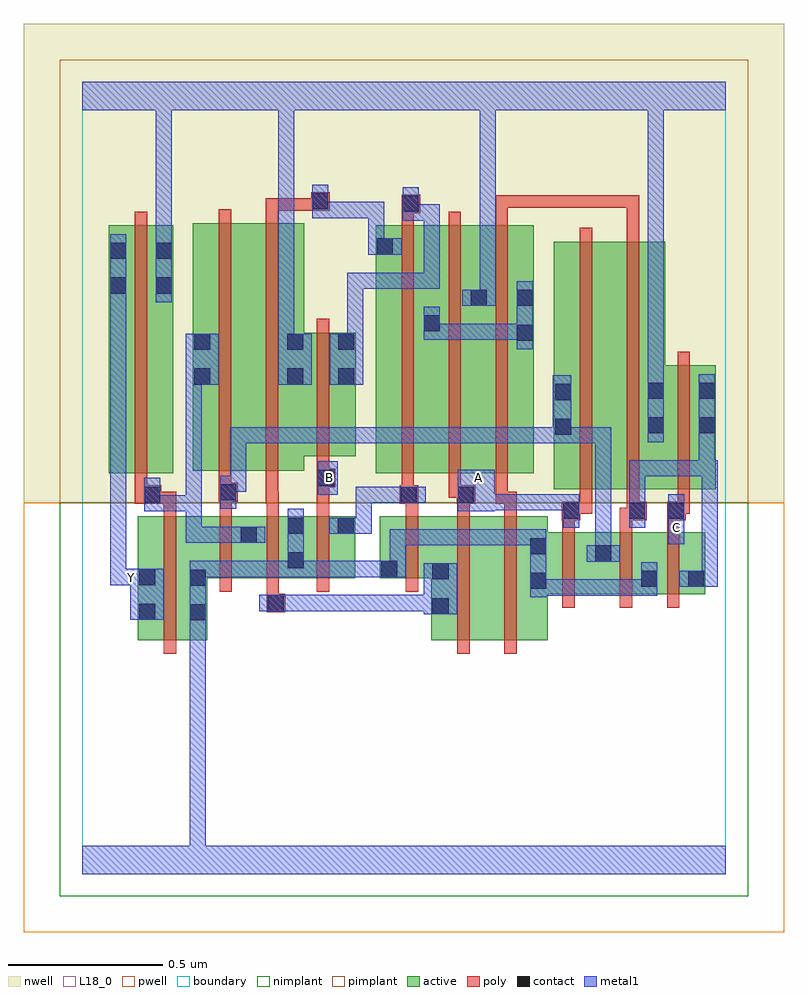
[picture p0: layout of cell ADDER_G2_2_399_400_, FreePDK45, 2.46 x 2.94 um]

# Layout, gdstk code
import gdstk
lib = gdstk.Library(unit=1e-6, precision=1e-09)
def R(c, l, rs):  # rectangles x0, y0, x1, y1
    for r in rs: c.add(gdstk.rectangle(r[:2], r[2:], *l))
def A(c, l, x, y, w, h, nx, ny, dx, dy):  # array of equal rectangles
    R(c, l, [(x+i*dx, y+j*dy, x+i*dx+w, y+j*dy+h) for i in range(nx) for j in range(ny)])
active = (1, 0)
pwell = (2, 0)
nwell = (3, 0)
nimplant = (4, 0)
pimplant = (5, 0)
poly = (9, 0)
contact = (10, 0)
metal1 = (11, 0)
L18_0 = (18, 0)
boundary = (235, 0)

adder_g2_2_399_400_ = lib.new_cell('ADDER_G2_2_399_400_')
R(adder_g2_2_399_400_, active, [(0.18,0.756,0.404,1.156), (0.18,0.756,0.24,1.156), (0.344,0.756,0.404,0.988), (1.128,0.756,1.308,1.156), (1.308,0.756,1.504,1.156), (1.444,0.78,1.504,1.09), (1.128,0.836,1.188,1.034), (1.444,0.904,1.714,1.104), (1.654,0.904,1.862,1.104), (1.802,0.904,2.014,1.104), (1.802,0.924,1.862,1.04), (1.954,0.924,2.014,1.104), (0.344,0.956,0.568,1.156), (0.508,0.956,0.72,1.156), (0.508,0.956,0.568,1.128), (0.66,0.956,0.72,1.156), (0.66,0.956,0.882,1.156), (0.822,0.956,0.882,1.156), (0.962,0.956,1.188,1.156), (0.962,0.956,1.022,1.156), (1.654,0.956,1.714,1.096), (1.524,1.244,1.704,2.044), (1.524,1.244,1.584,2.044), (1.704,1.244,1.884,2.044), (1.824,1.244,2.048,1.644), (1.988,1.244,2.048,1.644), (0.086,1.296,0.146,2.096), (0.086,1.296,0.294,2.096), (0.234,1.296,0.294,2.096), (0.948,1.296,1.16,2.096), (0.948,1.296,1.008,2.064), (1.1,1.296,1.312,2.096), (1.1,1.296,1.16,2.044), (1.252,1.296,1.46,2.096), (1.252,1.296,1.312,2.09), (1.4,1.296,1.46,2.096), (0.358,1.304,0.538,2.104), (0.358,1.304,0.418,2.044), (0.538,1.304,0.718,2.104), (0.658,1.35,0.718,1.75), (0.658,1.35,0.884,1.75), (0.824,1.35,0.884,1.75), (1.824,1.35,1.884,1.644)])
R(adder_g2_2_399_400_, pwell, [(-0.188,-0.188,2.268,1.2)])
R(adder_g2_2_399_400_, nwell, [(-0.188,1.2,2.268,2.748)])
R(adder_g2_2_399_400_, nimplant, [(-0.072,-0.072,2.152,1.2)])
R(adder_g2_2_399_400_, pimplant, [(-0.072,1.2,2.152,2.632)])
A(adder_g2_2_399_400_, poly, 1.032, 1.252, 0.04, 0.888, 3, 1, 0.152, 0)
R(adder_g2_2_399_400_, poly, [(0.264,0.712,0.304,1.2), (1.212,0.712,1.252,1.2), (1.364,0.712,1.404,1.2), (0.596,0.846,0.656,0.906), (1.552,0.86,1.592,1.148), (1.738,0.86,1.778,1.148), (1.89,0.86,1.93,1.148), (0.596,0.866,0.636,0.952), (0.444,0.912,0.484,1.2), (0.596,0.912,0.636,1.2), (0.758,0.912,0.798,1.2), (1.046,0.912,1.086,1.2), (1.552,1.108,1.592,1.184), (1.738,1.108,1.778,1.184), (1.89,1.108,1.93,1.184), (1.55,1.144,1.61,1.204), (1.738,1.144,1.8,1.184), (1.76,1.144,1.8,1.184), (1.76,1.144,1.824,1.204), (1.89,1.144,1.95,1.204), (0.264,1.16,0.304,1.236), (0.444,1.16,0.484,1.244), (0.596,1.16,0.636,1.236), (0.758,1.16,0.798,1.29), (1.046,1.16,1.086,1.236), (1.212,1.16,1.252,1.236), (1.364,1.16,1.404,1.236), (1.57,1.164,1.61,1.204), (1.57,1.164,1.648,1.204), (1.608,1.164,1.648,1.24), (1.76,1.164,1.8,1.24), (1.91,1.164,1.95,1.204), (1.91,1.164,1.964,1.204), (1.924,1.164,1.964,1.24), (0.17,1.196,0.256,1.256), (0.216,1.196,0.256,1.236), (0.216,1.196,0.304,1.236), (0.594,1.196,0.634,1.3), (0.594,1.196,0.636,1.236), (0.596,1.196,0.636,1.236), (0.596,1.196,0.636,1.236), (1.026,1.196,1.086,1.256), (1.21,1.196,1.27,1.256), (1.336,1.196,1.376,1.236), (1.336,1.196,1.376,1.236), (1.336,1.196,1.376,1.292), (1.336,1.196,1.404,1.236), (1.608,1.2,1.648,2.088), (1.76,1.2,1.8,2.088), (1.924,1.2,1.964,1.688), (0.442,1.204,0.502,1.264), (0.444,1.204,0.484,1.244), (0.444,1.204,0.484,1.244), (0.17,1.216,0.21,1.292), (1.032,1.216,1.072,1.292), (1.032,1.216,1.072,1.256), (1.032,1.216,1.072,1.256), (1.184,1.216,1.224,1.292), (1.184,1.216,1.25,1.256), (1.21,1.216,1.25,1.256), (0.442,1.224,0.482,1.3), (0.758,1.25,0.818,1.31), (0.17,1.252,0.21,2.14), (0.442,1.26,0.482,2.148), (0.594,1.26,0.634,2.148), (0.758,1.27,0.798,1.346), (0.758,1.27,0.798,1.31), (0.758,1.27,0.798,1.31), (0.758,1.306,0.798,1.794), (1.76,2.048,1.8,2.194), (1.032,2.1,1.072,2.176), (1.336,2.1,1.376,2.194), (0.594,2.108,0.634,2.184), (1.032,2.136,1.092,2.196), (0.594,2.144,0.634,2.184), (0.594,2.144,0.78,2.184), (0.74,2.144,0.78,2.184), (0.74,2.144,0.78,2.184), (0.74,2.144,0.8,2.204), (1.336,2.154,1.376,2.194), (1.336,2.154,1.376,2.194), (1.336,2.154,1.376,2.194), (1.336,2.154,1.672,2.194), (1.632,2.154,1.672,2.194), (1.632,2.154,1.672,2.194), (1.632,2.154,1.672,2.194), (1.632,2.154,1.8,2.194), (1.76,2.154,1.8,2.194), (1.76,2.154,1.8,2.194), (1.76,2.154,1.8,2.194)])
R(adder_g2_2_399_400_, contact, [(0.348,0.82,0.4,0.872), (0.184,0.822,0.236,0.874), (1.132,0.84,1.184,0.892), (0.6,0.85,0.652,0.902), (1.448,0.922,1.5,0.974), (1.806,0.928,1.858,0.98), (1.958,0.928,2.01,0.98), (0.348,0.932,0.4,0.984), (0.184,0.934,0.236,0.986), (1.132,0.952,1.184,1.004), (0.966,0.96,1.018,1.012), (0.664,0.988,0.716,1.04), (1.658,1.01,1.71,1.062), (1.448,1.034,1.5,1.086), (0.512,1.07,0.564,1.122), (0.664,1.1,0.716,1.152), (0.826,1.1,0.878,1.152), (1.554,1.148,1.606,1.2), (1.768,1.148,1.82,1.2), (1.894,1.148,1.946,1.2), (0.2,1.2,0.252,1.252), (1.03,1.2,1.082,1.252), (1.214,1.2,1.266,1.252), (0.446,1.208,0.498,1.26), (0.762,1.254,0.814,1.306), (1.528,1.42,1.58,1.472), (1.828,1.424,1.88,1.476), (1.992,1.424,2.044,1.476), (1.528,1.532,1.58,1.584), (1.828,1.536,1.88,1.588), (1.992,1.536,2.044,1.588), (0.362,1.582,0.414,1.634), (0.662,1.582,0.714,1.634), (0.828,1.582,0.88,1.634), (0.362,1.694,0.414,1.746), (0.662,1.694,0.714,1.746), (0.828,1.694,0.88,1.746), (1.404,1.724,1.456,1.776), (1.104,1.754,1.156,1.806), (1.256,1.836,1.308,1.888), (1.404,1.836,1.456,1.888), (0.09,1.876,0.142,1.928), (0.238,1.876,0.29,1.928), (0.09,1.988,0.142,2.04), (0.238,1.988,0.29,2.04), (0.952,2.002,1.004,2.054), (1.036,2.14,1.088,2.192), (0.744,2.148,0.796,2.2)])
R(adder_g2_2_399_400_, metal1, [(0,0,2.08,0.092), (0.348,0.04,0.4,0.092), (0.348,0.04,0.4,0.092), (0.348,0.04,0.4,0.092), (0.348,0.04,0.4,0.092), (0.348,0.04,0.4,0.092), (0.348,0.04,0.4,0.092), (0.348,0.04,0.4,0.092), (0.348,0.04,0.4,0.092), (0.348,0.04,0.4,0.092), (0.348,0.04,0.4,0.092), (0.348,0.04,0.4,0.092), (0.348,0.04,0.4,0.092), (0.348,0.04,0.4,0.092), (0.348,0.04,0.4,0.092), (0.348,0.04,0.4,0.092), (0.348,0.04,0.4,0.092), (0.348,0.04,0.4,0.844), (0.348,0.792,0.4,1.012), (0.156,0.822,0.264,0.986), (1.104,0.84,1.212,1.004), (0.572,0.85,0.68,0.902), (0.628,0.85,0.68,0.902), (0.628,0.85,0.68,0.902), (0.628,0.85,0.826,0.902), (0.774,0.85,0.826,0.902), (0.774,0.85,0.826,0.902), (0.774,0.85,0.826,0.902), (0.774,0.85,0.936,0.902), (0.884,0.85,0.936,0.902), (0.884,0.85,1.156,0.902), (1.104,0.85,1.156,0.902), (1.104,0.85,1.156,0.902), (1.448,0.894,1.5,1.114), (1.448,0.9,1.572,0.952), (1.52,0.9,1.572,0.952), (1.52,0.9,1.572,0.952), (1.52,0.9,1.572,0.952), (1.52,0.9,1.71,0.952), (1.658,0.9,1.71,0.952), (1.658,0.9,1.71,0.952), (1.658,0.9,1.71,0.952), (1.658,0.9,1.836,0.952), (1.784,0.9,1.836,0.952), (1.784,0.9,1.858,0.952), (1.806,0.9,1.858,1.008), (1.93,0.928,2.054,0.98), (2.002,0.928,2.054,1.338), (0.09,0.934,0.214,0.986), (0.09,0.934,0.142,1.9), (0.156,0.934,0.208,0.986), (0.348,0.96,0.4,1.012), (0.348,0.96,0.4,1.012), (0.348,0.96,0.538,1.012), (0.486,0.96,0.538,1.012), (0.486,0.96,0.61,1.012), (0.558,0.96,0.61,1.012), (0.558,0.96,0.716,1.012), (0.664,0.96,0.716,1.18), (0.664,0.96,0.826,1.012), (0.774,0.96,0.826,1.012), (0.774,0.96,0.826,1.012), (0.774,0.96,0.826,1.012), (0.774,0.96,0.99,1.012), (0.938,0.96,1.046,1.012), (0.994,0.96,1.046,1.114), (1.63,1.01,1.738,1.062), (1.658,1.01,1.71,1.062), (1.658,1.01,1.71,1.062), (1.658,1.01,1.71,1.444), (0.994,1.062,1.046,1.114), (0.994,1.062,1.156,1.114), (1.104,1.062,1.156,1.114), (1.104,1.062,1.156,1.114), (1.104,1.062,1.156,1.114), (1.104,1.062,1.346,1.114), (1.294,1.062,1.346,1.114), (1.294,1.062,1.346,1.114), (1.294,1.062,1.346,1.114), (1.294,1.062,1.456,1.114), (1.404,1.062,1.456,1.114), (1.404,1.062,1.5,1.114), (1.894,1.066,1.946,1.228), (0.334,1.07,0.386,1.122), (0.334,1.07,0.386,1.122), (0.334,1.07,0.386,1.122), (0.334,1.07,0.536,1.122), (0.334,1.07,0.386,1.224), (0.484,1.07,0.536,1.122), (0.484,1.07,0.536,1.122), (0.484,1.07,0.592,1.122), (0.798,1.1,0.936,1.152), (0.884,1.1,0.936,1.252), (1.554,1.12,1.606,1.228), (1.768,1.12,1.82,1.228), (0.2,1.172,0.252,1.224), (0.2,1.172,0.252,1.224), (0.2,1.172,0.252,1.28), (0.2,1.172,0.386,1.224), (0.334,1.172,0.386,1.224), (0.334,1.172,0.386,1.634), (1.214,1.172,1.334,1.306), (1.282,1.176,1.334,1.228), (1.282,1.176,1.334,1.228), (1.282,1.176,1.456,1.228), (1.404,1.176,1.456,1.228), (1.404,1.176,1.456,1.228), (1.404,1.176,1.456,1.228), (1.404,1.176,1.566,1.228), (1.514,1.176,1.566,1.228), (1.514,1.176,1.606,1.228), (1.768,1.176,1.82,1.338), (1.768,1.176,1.82,1.228), (0.446,1.18,0.498,1.288), (0.884,1.2,0.936,1.252), (0.884,1.2,0.936,1.252), (0.884,1.2,0.936,1.252), (0.884,1.2,1.054,1.252), (1.002,1.2,1.11,1.252), (0.762,1.226,0.826,1.334), (0.446,1.236,0.53,1.288), (0.478,1.236,0.53,1.444), (1.768,1.286,2.044,1.338), (1.992,1.286,2.044,1.448), (1.992,1.286,2.044,1.338), (1.992,1.286,2.044,1.338), (1.992,1.286,2.054,1.338), (2.002,1.286,2.054,1.338), (2.002,1.286,2.054,1.338), (0.478,1.392,0.68,1.444), (0.628,1.392,0.68,1.444), (0.628,1.392,0.68,1.444), (0.628,1.392,0.68,1.444), (0.628,1.392,0.826,1.444), (0.774,1.392,0.826,1.444), (0.774,1.392,0.826,1.444), (0.774,1.392,0.826,1.444), (0.774,1.392,0.936,1.444), (0.884,1.392,0.936,1.444), (0.884,1.392,1.156,1.444), (1.104,1.392,1.156,1.444), (1.104,1.392,1.156,1.444), (1.104,1.392,1.156,1.444), (1.104,1.392,1.33,1.444), (1.278,1.392,1.33,1.444), (1.278,1.392,1.33,1.444), (1.278,1.392,1.33,1.444), (1.278,1.392,1.456,1.444), (1.404,1.392,1.456,1.444), (1.404,1.392,1.456,1.444), (1.404,1.392,1.456,1.444), (1.404,1.392,1.572,1.444), (1.52,1.392,1.572,1.444), (1.52,1.392,1.572,1.444), (1.52,1.392,1.71,1.444), (1.52,1.392,1.58,1.612), (1.658,1.392,1.71,1.444), (1.658,1.392,1.71,1.444), (1.658,1.392,1.71,1.444), (1.828,1.396,1.88,1.616), (1.992,1.396,2.044,1.616), (1.828,1.564,1.88,2.52), (0.334,1.582,0.442,1.746), (0.634,1.582,0.742,1.746), (0.8,1.582,0.908,1.746), (0.634,1.694,0.686,2.52), (0.856,1.694,0.908,1.746), (0.856,1.694,0.908,1.746), (0.856,1.694,0.908,1.746), (0.856,1.694,0.908,1.746), (0.856,1.694,0.908,1.944), (1.404,1.696,1.456,1.916), (1.104,1.726,1.156,1.834), (1.104,1.726,1.266,1.778), (1.214,1.726,1.266,1.778), (1.214,1.726,1.266,1.778), (1.214,1.726,1.266,1.778), (1.214,1.726,1.456,1.778), (1.404,1.726,1.456,1.778), (1.404,1.726,1.456,1.778), (1.228,1.836,1.336,1.888), (1.284,1.836,1.336,2.52), (0.09,1.848,0.142,2.068), (0.09,1.848,0.142,1.9), (0.09,1.848,0.142,1.9), (0.238,1.848,0.29,2.068), (0.856,1.892,0.908,1.944), (0.856,1.892,1.046,1.944), (0.994,1.892,1.046,1.944), (0.994,1.892,1.046,1.944), (0.994,1.892,1.046,1.944), (0.994,1.892,1.156,1.944), (1.104,1.892,1.156,1.944), (1.104,1.892,1.156,2.164), (0.924,2.002,1.032,2.054), (0.924,2.002,0.976,2.172), (0.238,2.016,0.29,2.068), (0.238,2.016,0.29,2.068), (0.238,2.016,0.29,2.068), (0.238,2.016,0.29,2.068), (0.238,2.016,0.29,2.52), (1.036,2.112,1.088,2.22), (1.036,2.112,1.156,2.164), (1.104,2.112,1.156,2.164), (1.104,2.112,1.156,2.164), (1.104,2.112,1.156,2.164), (0.744,2.12,0.796,2.228), (0.744,2.12,0.826,2.172), (0.774,2.12,0.826,2.172), (0.774,2.12,0.976,2.172), (0.924,2.12,0.976,2.172), (0,2.468,2.08,2.56), (0.238,2.468,0.29,2.52), (0.238,2.468,0.29,2.52), (0.238,2.468,0.29,2.52), (0.238,2.468,0.29,2.52), (0.634,2.468,0.686,2.52), (0.634,2.468,0.686,2.52), (0.634,2.468,0.686,2.52), (0.634,2.468,0.686,2.52), (0.634,2.468,0.686,2.52), (0.634,2.468,0.686,2.52), (0.634,2.468,0.686,2.52), (0.634,2.468,0.686,2.52), (1.284,2.468,1.336,2.52), (1.284,2.468,1.336,2.52), (1.284,2.468,1.336,2.52), (1.284,2.468,1.336,2.52), (1.284,2.468,1.336,2.52), (1.284,2.468,1.336,2.52), (1.284,2.468,1.336,2.52), (1.284,2.468,1.336,2.52), (1.828,2.468,1.88,2.52), (1.828,2.468,1.88,2.52), (1.828,2.468,1.88,2.52), (1.828,2.468,1.88,2.52), (1.828,2.468,1.88,2.52), (1.828,2.468,1.88,2.52), (1.828,2.468,1.88,2.52), (1.828,2.468,1.88,2.52)])
R(adder_g2_2_399_400_, L18_0, [(0,0,2.08,0.092), (0.348,0.04,0.4,0.092), (0.348,0.04,0.4,0.092), (0.348,0.04,0.4,0.092), (0.348,0.04,0.4,0.092), (0.348,0.04,0.4,0.092), (0.348,0.04,0.4,0.092), (0.348,0.04,0.4,0.092), (0.348,0.04,0.4,0.092), (0.348,0.04,0.4,0.092), (0.348,0.04,0.4,0.092), (0.348,0.04,0.4,0.092), (0.348,0.04,0.4,0.092), (0.348,0.04,0.4,0.092), (0.348,0.04,0.4,0.092), (0.348,0.04,0.4,0.092), (0.348,0.04,0.4,0.092), (0.348,0.04,0.4,0.844), (0.348,0.792,0.4,1.012), (0.156,0.822,0.264,0.986), (1.448,0.894,1.5,1.114), (1.448,0.9,1.572,0.952), (1.52,0.9,1.572,0.952), (1.52,0.9,1.572,0.952), (1.52,0.9,1.572,0.952), (1.52,0.9,1.71,0.952), (1.658,0.9,1.71,0.952), (1.658,0.9,1.71,0.952), (1.658,0.9,1.71,0.952), (1.658,0.9,1.836,0.952), (1.784,0.9,1.836,0.952), (1.784,0.9,1.858,0.952), (1.806,0.9,1.858,1.008), (0.09,0.934,0.214,0.986), (0.09,0.934,0.142,1.9), (0.134,0.934,0.186,0.986), (0.156,0.934,0.208,0.986), (0.348,0.96,0.4,1.012), (0.348,0.96,0.4,1.012), (0.348,0.96,0.538,1.012), (0.486,0.96,0.61,1.012), (0.486,0.96,0.538,1.012), (0.558,0.96,0.61,1.012), (0.558,0.96,0.716,1.012), (0.664,0.96,0.716,1.18), (0.664,0.96,0.826,1.012), (0.774,0.96,0.826,1.012), (0.774,0.96,0.826,1.012), (0.774,0.96,0.826,1.012), (0.774,0.96,0.99,1.012), (0.938,0.96,1.046,1.012), (0.994,0.96,1.046,1.114), (0.994,1.062,1.046,1.114), (0.994,1.062,1.156,1.114), (1.104,1.062,1.156,1.114), (1.104,1.062,1.156,1.114), (1.104,1.062,1.156,1.114), (1.104,1.062,1.346,1.114), (1.294,1.062,1.346,1.114), (1.294,1.062,1.346,1.114), (1.294,1.062,1.346,1.114), (1.294,1.062,1.456,1.114), (1.404,1.062,1.456,1.114), (1.404,1.062,1.5,1.114), (1.894,1.066,1.946,1.228), (1.894,1.094,1.946,1.146), (1.554,1.12,1.606,1.228), (1.214,1.172,1.334,1.306), (1.282,1.176,1.334,1.228), (1.282,1.176,1.334,1.228), (1.282,1.176,1.456,1.228), (1.404,1.176,1.456,1.228), (1.404,1.176,1.456,1.228), (1.404,1.176,1.456,1.228), (1.404,1.176,1.566,1.228), (1.514,1.176,1.566,1.228), (1.514,1.176,1.606,1.228), (0.762,1.226,0.826,1.334), (0.774,1.254,0.826,1.306), (1.254,1.254,1.306,1.306), (1.828,1.396,1.88,1.616), (1.828,1.564,1.88,2.52), (0.634,1.582,0.742,1.746), (0.634,1.694,0.686,2.52), (1.228,1.836,1.336,1.888), (1.284,1.836,1.336,2.52), (0.09,1.848,0.142,1.9), (0.09,1.848,0.142,1.9), (0.09,1.848,0.142,2.068), (0.238,1.848,0.29,2.068), (0.238,2.016,0.29,2.068), (0.238,2.016,0.29,2.068), (0.238,2.016,0.29,2.068), (0.238,2.016,0.29,2.068), (0.238,2.016,0.29,2.52), (0,2.468,2.08,2.56), (0.238,2.468,0.29,2.52), (0.238,2.468,0.29,2.52), (0.238,2.468,0.29,2.52), (0.238,2.468,0.29,2.52), (0.634,2.468,0.686,2.52), (0.634,2.468,0.686,2.52), (0.634,2.468,0.686,2.52), (0.634,2.468,0.686,2.52), (0.634,2.468,0.686,2.52), (0.634,2.468,0.686,2.52), (0.634,2.468,0.686,2.52), (0.634,2.468,0.686,2.52), (1.284,2.468,1.336,2.52), (1.284,2.468,1.336,2.52), (1.284,2.468,1.336,2.52), (1.284,2.468,1.336,2.52), (1.284,2.468,1.336,2.52), (1.284,2.468,1.336,2.52), (1.284,2.468,1.336,2.52), (1.284,2.468,1.336,2.52), (1.828,2.468,1.88,2.52), (1.828,2.468,1.88,2.52), (1.828,2.468,1.88,2.52), (1.828,2.468,1.88,2.52), (1.828,2.468,1.88,2.52), (1.828,2.468,1.88,2.52), (1.828,2.468,1.88,2.52), (1.828,2.468,1.88,2.52)])
R(adder_g2_2_399_400_, boundary, [(0,0,2.08,2.56)])
adder_g2_2_399_400_.add(gdstk.Label('A', (1.28,1.28), layer=11, texttype=0))
adder_g2_2_399_400_.add(gdstk.Label('B', (0.8,1.28), layer=11, texttype=0))
adder_g2_2_399_400_.add(gdstk.Label('C', (1.92,1.12), layer=11, texttype=0))
adder_g2_2_399_400_.add(gdstk.Label('Y', (0.16,0.96), layer=11, texttype=0))

lib.write_gds('ADDER_G2_2_399_400_.gds')
